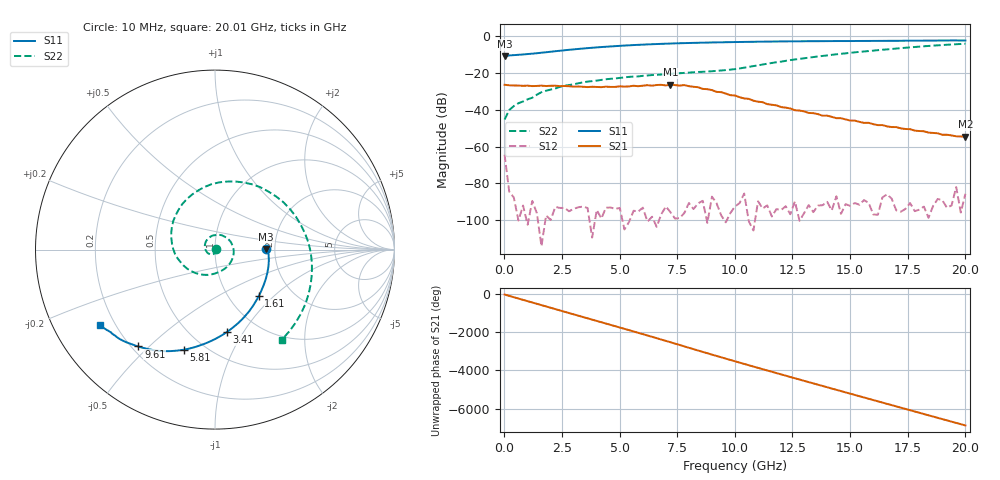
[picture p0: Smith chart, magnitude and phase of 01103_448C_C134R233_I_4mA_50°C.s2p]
!;Filter: kein Filter
!auto
!3/21/2019 9:25:24 AM
!3/21/2019 9:25:40 AM
!SP-Measurements Prober G4
!SP-Measurements Prober G4
!01103_448C
!134
!233
!12
!50
!-20
!0.00399976
!1.88
!0.54220246
!0.54220246
# Hz S  RI  R 50
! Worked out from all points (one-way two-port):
!   101 points, 10 MHz to 20.01 GHz, reference 50 ohm
!   highest |S21| = -26.31 dB at 7.21 GHz (marker M1); lowest = -54.7 dB at 20.01 GHz (marker M2)
!   lowest |S11| = -10.9 dB at 10 MHz (marker M3), VSWR 1.80, Z = 89.9 + j0.826 ohm
!   |S11| at or under -10 dB: start of sweep to 704.5 MHz
!   |S22| runs from -45.3 to -4.1 dB; largest |S21 - S12| = 0.048
!   S11 on the Smith chart (normalised r, x): 10 MHz: 1.80, +0.02; 1.61 GHz: 1.36, -0.81; 3.41 GHz: 0.73, -0.85; 5.81 GHz: 0.39, -0.66; 9.61 GHz: 0.23, -0.46; 20.01 GHz: 0.14, -0.29
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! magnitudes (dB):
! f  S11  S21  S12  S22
! 10 MHz  -10.9  -26.4  -64.5  -45.3
! 210 MHz  -10.5  -26.7  -84.5  -40.1
! 610 MHz  -10.1  -26.8  -100.3  -36.4
! 1.21 GHz  -9.5  -27.1  -89.6  -33.5
! 1.61 GHz  -9.0  -26.9  -114.2  -30.4
! 2.61 GHz  -7.6  -27.1  -93.4  -26.9
! 3.41 GHz  -6.7  -27.5  -92.7  -25.1
! 5.81 GHz  -4.7  -27.2  -95.4  -21.9
! 6.81 GHz  -4.1  -26.4  -96.8  -20.8
! 7.21 GHz  -4.0  -26.3  -95.8  -20.5
! 7.81 GHz  -3.7  -26.6  -96.2  -19.9
! 8.41 GHz  -3.6  -27.7  -90.9  -19.4
! 9.61 GHz  -3.2  -31.2  -101.3  -18.4
! 10.01 GHz  -3.2  -32.2  -92.7  -17.9
! 11.41 GHz  -2.9  -36.9  -92.0  -14.9
! 13.41 GHz  -2.7  -41.9  -95.7  -11.3
! 14.41 GHz  -2.6  -44.6  -87.1  -9.8
! 14.61 GHz  -2.6  -44.6  -96.6  -9.6
! 15.01 GHz  -2.6  -45.9  -92.3  -9.0
! 16.81 GHz  -2.5  -49.4  -88.4  -6.9
! 19.01 GHz  -2.3  -53.6  -89.2  -4.8
! 20.01 GHz  -2.3  -54.7  -85.7  -4.1
